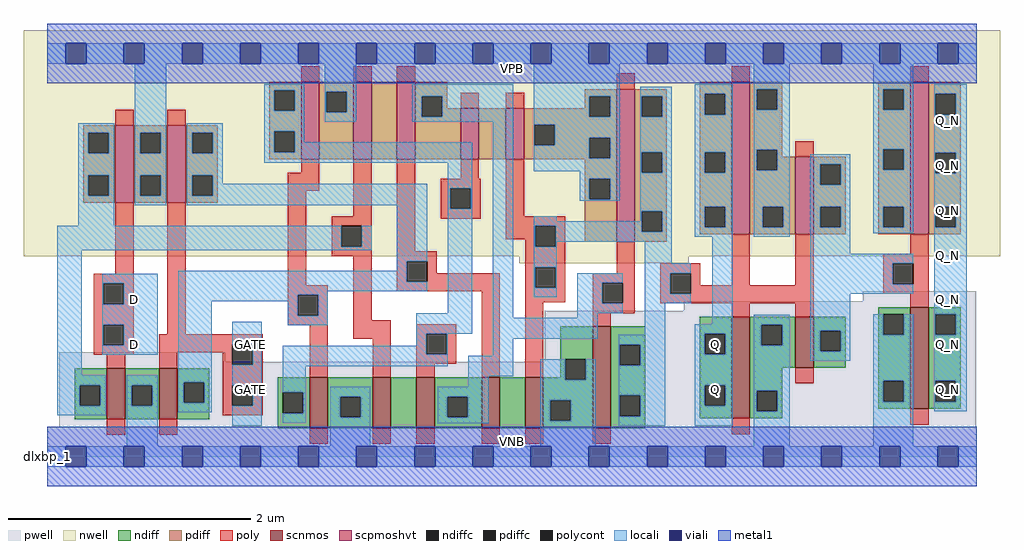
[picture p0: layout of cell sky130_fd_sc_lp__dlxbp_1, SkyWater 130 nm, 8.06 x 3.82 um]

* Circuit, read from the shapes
.subckt sky130_fd_sc_lp__dlxbp_1 D GATE VGND VNB VPB VPWR Q Q_N
XM1 VGND D n1 VNB sky130_fd_pr__nfet_01v8 w=0.42 l=0.15
XM2 n2 GATE VGND VNB sky130_fd_pr__nfet_01v8 w=0.42 l=0.15
XM3 VGND n2 n3 VNB sky130_fd_pr__nfet_01v8 w=0.42 l=0.15
XM4 n4 n1 VGND VNB sky130_fd_pr__nfet_01v8 w=0.42 l=0.15
XM5 n5 n3 n4 VNB sky130_fd_pr__nfet_01v8 w=0.42 l=0.15
XM6 n6 n2 n5 VNB sky130_fd_pr__nfet_01v8 w=0.42 l=0.15
XM7 VGND n7 n6 VNB sky130_fd_pr__nfet_01v8 w=0.42 l=0.15
XM8 n7 n5 VGND VNB sky130_fd_pr__nfet_01v8 w=0.84 l=0.15
XM9 VGND n7 Q VNB sky130_fd_pr__nfet_01v8 w=0.84 l=0.15
XM10 n8 n7 VGND VNB sky130_fd_pr__nfet_01v8 w=0.42 l=0.15
XM11 Q_N n8 VGND VNB sky130_fd_pr__nfet_01v8 w=0.84 l=0.15
XM12 VPWR D n1 VPB sky130_fd_pr__pfet_01v8_hvt w=0.64 l=0.15
XM13 n2 GATE VPWR VPB sky130_fd_pr__pfet_01v8_hvt w=0.64 l=0.15
XM14 VPWR n2 n3 VPB sky130_fd_pr__pfet_01v8_hvt w=0.64 l=0.15
XM15 n9 n1 VPWR VPB sky130_fd_pr__pfet_01v8_hvt w=0.64 l=0.15
XM16 n5 n2 n9 VPB sky130_fd_pr__pfet_01v8_hvt w=0.64 l=0.15
XM17 n10 n3 n5 VPB sky130_fd_pr__pfet_01v8_hvt w=0.42 l=0.15
XM18 VPWR n7 n10 VPB sky130_fd_pr__pfet_01v8_hvt w=0.42 l=0.15
XM19 n7 n5 VPWR VPB sky130_fd_pr__pfet_01v8_hvt w=1.26 l=0.15
XM20 VPWR n7 Q VPB sky130_fd_pr__pfet_01v8_hvt w=1.26 l=0.15
XM21 n8 n7 VPWR VPB sky130_fd_pr__pfet_01v8_hvt w=0.64 l=0.15
XM22 Q_N n8 VPWR VPB sky130_fd_pr__pfet_01v8_hvt w=1.26 l=0.15
.ends

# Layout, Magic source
magic
tech sky130A
magscale 1 2
<< nwell >>
rect -38 331 1574 704
rect 780 319 1060 331
<< pwell >>
rect 1347 257 1535 273
rect 1052 241 1535 257
rect 20 157 294 172
rect 822 157 1535 241
rect 20 49 1535 157
rect 0 0 1536 49
<< scnmos >>
rect 99 62 129 146
rect 185 62 215 146
rect 434 47 464 131
rect 538 47 568 131
rect 610 47 640 131
rect 718 47 748 131
rect 790 47 820 131
rect 901 47 931 215
rect 1131 63 1161 231
rect 1236 147 1266 231
rect 1426 79 1456 247
<< scpmoshvt >>
rect 113 419 143 547
rect 199 419 229 547
rect 420 491 450 619
rect 506 491 536 619
rect 578 491 608 619
rect 683 491 713 575
rect 758 491 788 575
rect 941 355 971 607
rect 1131 367 1161 619
rect 1236 367 1266 495
rect 1426 367 1456 619
<< ndiff >>
rect 46 118 99 146
rect 46 84 54 118
rect 88 84 99 118
rect 46 62 99 84
rect 129 118 185 146
rect 129 84 140 118
rect 174 84 185 118
rect 129 62 185 84
rect 215 123 268 146
rect 215 89 226 123
rect 260 89 268 123
rect 215 62 268 89
rect 1373 235 1426 247
rect 848 161 901 215
rect 848 131 856 161
rect 381 106 434 131
rect 381 72 389 106
rect 423 72 434 106
rect 381 47 434 72
rect 464 99 538 131
rect 464 65 484 99
rect 518 65 538 99
rect 464 47 538 65
rect 568 47 610 131
rect 640 99 718 131
rect 640 65 661 99
rect 695 65 718 99
rect 640 47 718 65
rect 748 47 790 131
rect 820 127 856 131
rect 890 127 901 161
rect 820 93 901 127
rect 820 59 831 93
rect 865 59 901 93
rect 820 47 901 59
rect 931 185 988 215
rect 931 151 946 185
rect 980 151 988 185
rect 931 101 988 151
rect 931 67 946 101
rect 980 67 988 101
rect 931 47 988 67
rect 1078 203 1131 231
rect 1078 169 1086 203
rect 1120 169 1131 203
rect 1078 118 1131 169
rect 1078 84 1086 118
rect 1120 84 1131 118
rect 1078 63 1131 84
rect 1161 218 1236 231
rect 1161 184 1180 218
rect 1214 184 1236 218
rect 1161 147 1236 184
rect 1266 208 1319 231
rect 1266 174 1277 208
rect 1311 174 1319 208
rect 1266 147 1319 174
rect 1373 201 1381 235
rect 1415 201 1426 235
rect 1161 109 1214 147
rect 1373 125 1426 201
rect 1161 75 1172 109
rect 1206 75 1214 109
rect 1373 91 1381 125
rect 1415 91 1426 125
rect 1373 79 1426 91
rect 1456 235 1509 247
rect 1456 201 1467 235
rect 1501 201 1509 235
rect 1456 125 1509 201
rect 1456 91 1467 125
rect 1501 91 1509 125
rect 1456 79 1509 91
rect 1161 63 1214 75
<< pdiff >>
rect 367 605 420 619
rect 367 571 375 605
rect 409 571 420 605
rect 60 535 113 547
rect 60 501 68 535
rect 102 501 113 535
rect 60 465 113 501
rect 60 431 68 465
rect 102 431 113 465
rect 60 419 113 431
rect 143 535 199 547
rect 143 501 154 535
rect 188 501 199 535
rect 143 465 199 501
rect 143 431 154 465
rect 188 431 199 465
rect 143 419 199 431
rect 229 535 282 547
rect 229 501 240 535
rect 274 501 282 535
rect 229 465 282 501
rect 367 537 420 571
rect 367 503 375 537
rect 409 503 420 537
rect 367 491 420 503
rect 450 603 506 619
rect 450 569 461 603
rect 495 569 506 603
rect 450 491 506 569
rect 536 491 578 619
rect 608 595 661 619
rect 608 561 619 595
rect 653 575 661 595
rect 888 595 941 607
rect 888 575 896 595
rect 653 561 683 575
rect 608 491 683 561
rect 713 491 758 575
rect 788 561 896 575
rect 930 561 941 595
rect 788 548 941 561
rect 788 514 805 548
rect 839 527 941 548
rect 839 514 896 527
rect 788 493 896 514
rect 930 493 941 527
rect 788 491 941 493
rect 229 431 240 465
rect 274 431 282 465
rect 229 419 282 431
rect 888 459 941 491
rect 888 425 896 459
rect 930 425 941 459
rect 888 355 941 425
rect 971 595 1024 607
rect 971 561 982 595
rect 1016 561 1024 595
rect 971 503 1024 561
rect 971 469 982 503
rect 1016 469 1024 503
rect 971 405 1024 469
rect 971 371 982 405
rect 1016 371 1024 405
rect 971 355 1024 371
rect 1078 599 1131 619
rect 1078 565 1086 599
rect 1120 565 1131 599
rect 1078 503 1131 565
rect 1078 469 1086 503
rect 1120 469 1131 503
rect 1078 413 1131 469
rect 1078 379 1086 413
rect 1120 379 1131 413
rect 1078 367 1131 379
rect 1161 607 1214 619
rect 1161 573 1172 607
rect 1206 573 1214 607
rect 1161 507 1214 573
rect 1373 607 1426 619
rect 1373 573 1381 607
rect 1415 573 1426 607
rect 1161 473 1172 507
rect 1206 495 1214 507
rect 1373 508 1426 573
rect 1206 473 1236 495
rect 1161 413 1236 473
rect 1161 379 1182 413
rect 1216 379 1236 413
rect 1161 367 1236 379
rect 1266 483 1319 495
rect 1266 449 1277 483
rect 1311 449 1319 483
rect 1266 413 1319 449
rect 1266 379 1277 413
rect 1311 379 1319 413
rect 1266 367 1319 379
rect 1373 474 1381 508
rect 1415 474 1426 508
rect 1373 413 1426 474
rect 1373 379 1381 413
rect 1415 379 1426 413
rect 1373 367 1426 379
rect 1456 599 1509 619
rect 1456 565 1467 599
rect 1501 565 1509 599
rect 1456 502 1509 565
rect 1456 468 1467 502
rect 1501 468 1509 502
rect 1456 413 1509 468
rect 1456 379 1467 413
rect 1501 379 1509 413
rect 1456 367 1509 379
<< ndiffc >>
rect 54 84 88 118
rect 140 84 174 118
rect 226 89 260 123
rect 389 72 423 106
rect 484 65 518 99
rect 661 65 695 99
rect 856 127 890 161
rect 831 59 865 93
rect 946 151 980 185
rect 946 67 980 101
rect 1086 169 1120 203
rect 1086 84 1120 118
rect 1180 184 1214 218
rect 1277 174 1311 208
rect 1381 201 1415 235
rect 1172 75 1206 109
rect 1381 91 1415 125
rect 1467 201 1501 235
rect 1467 91 1501 125
<< pdiffc >>
rect 375 571 409 605
rect 68 501 102 535
rect 68 431 102 465
rect 154 501 188 535
rect 154 431 188 465
rect 240 501 274 535
rect 375 503 409 537
rect 461 569 495 603
rect 619 561 653 595
rect 896 561 930 595
rect 805 514 839 548
rect 896 493 930 527
rect 240 431 274 465
rect 896 425 930 459
rect 982 561 1016 595
rect 982 469 1016 503
rect 982 371 1016 405
rect 1086 565 1120 599
rect 1086 469 1120 503
rect 1086 379 1120 413
rect 1172 573 1206 607
rect 1381 573 1415 607
rect 1172 473 1206 507
rect 1182 379 1216 413
rect 1277 449 1311 483
rect 1277 379 1311 413
rect 1381 474 1415 508
rect 1381 379 1415 413
rect 1467 565 1501 599
rect 1467 468 1501 502
rect 1467 379 1501 413
<< poly >>
rect 420 619 450 645
rect 506 619 536 645
rect 578 619 608 645
rect 113 547 143 573
rect 199 547 229 573
rect 941 607 971 633
rect 1131 619 1161 645
rect 1426 619 1456 645
rect 683 575 713 601
rect 758 575 788 601
rect 420 469 450 491
rect 398 439 450 469
rect 113 302 143 419
rect 77 286 143 302
rect 77 252 93 286
rect 127 252 143 286
rect 77 218 143 252
rect 77 184 93 218
rect 127 184 143 218
rect 199 202 229 419
rect 398 283 428 439
rect 506 397 536 491
rect 470 381 536 397
rect 470 347 486 381
rect 520 347 536 381
rect 470 331 536 347
rect 398 267 464 283
rect 398 233 414 267
rect 448 233 464 267
rect 398 217 464 233
rect 77 168 143 184
rect 185 186 356 202
rect 185 172 306 186
rect 99 146 129 168
rect 185 146 215 172
rect 290 152 306 172
rect 340 152 356 186
rect 290 118 356 152
rect 434 131 464 217
rect 506 225 536 331
rect 578 339 608 491
rect 683 459 713 491
rect 650 443 716 459
rect 650 409 666 443
rect 700 409 716 443
rect 650 393 716 409
rect 758 397 788 491
rect 758 381 856 397
rect 758 359 806 381
rect 790 347 806 359
rect 840 347 856 381
rect 1236 495 1266 521
rect 578 323 644 339
rect 578 289 594 323
rect 628 303 644 323
rect 790 313 856 347
rect 628 289 748 303
rect 578 273 748 289
rect 506 195 568 225
rect 538 131 568 195
rect 610 203 676 219
rect 610 169 626 203
rect 660 169 676 203
rect 610 153 676 169
rect 610 131 640 153
rect 718 131 748 273
rect 790 279 806 313
rect 840 279 856 313
rect 941 303 971 355
rect 790 255 856 279
rect 901 287 971 303
rect 790 131 820 255
rect 901 253 917 287
rect 951 253 971 287
rect 1013 303 1079 319
rect 1013 269 1029 303
rect 1063 283 1079 303
rect 1131 283 1161 367
rect 1236 283 1266 367
rect 1426 335 1456 367
rect 1063 269 1266 283
rect 1381 319 1456 335
rect 1381 285 1397 319
rect 1431 285 1456 319
rect 1381 269 1456 285
rect 1013 253 1266 269
rect 901 237 971 253
rect 901 215 931 237
rect 1131 231 1161 253
rect 1236 231 1266 253
rect 1426 247 1456 269
rect 290 84 306 118
rect 340 84 356 118
rect 290 68 356 84
rect 99 36 129 62
rect 185 36 215 62
rect 1236 121 1266 147
rect 434 21 464 47
rect 538 21 568 47
rect 610 21 640 47
rect 718 21 748 47
rect 790 21 820 47
rect 901 21 931 47
rect 1131 37 1161 63
rect 1426 53 1456 79
<< polycont >>
rect 93 252 127 286
rect 93 184 127 218
rect 486 347 520 381
rect 414 233 448 267
rect 306 152 340 186
rect 666 409 700 443
rect 806 347 840 381
rect 594 289 628 323
rect 626 169 660 203
rect 806 279 840 313
rect 917 253 951 287
rect 1029 269 1063 303
rect 1397 285 1431 319
rect 306 84 340 118
<< locali >>
rect 0 649 31 683
rect 65 649 127 683
rect 161 649 223 683
rect 257 649 319 683
rect 353 649 415 683
rect 449 649 511 683
rect 545 649 607 683
rect 641 649 703 683
rect 737 649 799 683
rect 833 649 895 683
rect 929 649 991 683
rect 1025 649 1087 683
rect 1121 649 1183 683
rect 1217 649 1279 683
rect 1313 649 1375 683
rect 1409 649 1471 683
rect 1505 649 1536 683
rect 52 535 111 551
rect 52 501 68 535
rect 102 501 111 535
rect 52 465 111 501
rect 52 431 68 465
rect 102 431 111 465
rect 52 381 111 431
rect 145 535 197 649
rect 359 605 425 615
rect 359 571 375 605
rect 409 571 425 605
rect 145 501 154 535
rect 188 501 197 535
rect 145 465 197 501
rect 145 431 154 465
rect 188 431 197 465
rect 145 415 197 431
rect 231 535 290 551
rect 231 501 240 535
rect 274 501 290 535
rect 231 465 290 501
rect 359 537 425 571
rect 459 603 511 649
rect 459 569 461 603
rect 495 569 511 603
rect 459 553 511 569
rect 603 595 770 615
rect 603 561 619 595
rect 653 561 770 595
rect 603 553 770 561
rect 359 503 375 537
rect 409 519 425 537
rect 409 503 702 519
rect 359 485 702 503
rect 231 431 240 465
rect 274 451 290 465
rect 274 431 628 451
rect 231 415 628 431
rect 17 347 486 381
rect 520 347 536 381
rect 17 341 536 347
rect 17 134 57 341
rect 578 323 628 415
rect 578 307 594 323
rect 91 286 183 302
rect 91 252 93 286
rect 127 252 183 286
rect 91 218 183 252
rect 91 184 93 218
rect 127 184 183 218
rect 91 168 183 184
rect 217 289 594 307
rect 217 273 628 289
rect 662 443 702 485
rect 662 409 666 443
rect 700 409 702 443
rect 217 267 464 273
rect 217 257 414 267
rect 17 118 98 134
rect 17 84 54 118
rect 88 84 98 118
rect 17 68 98 84
rect 132 118 183 134
rect 132 84 140 118
rect 174 84 183 118
rect 132 17 183 84
rect 217 123 272 257
rect 398 233 414 257
rect 448 233 464 267
rect 662 237 702 409
rect 217 89 226 123
rect 260 89 272 123
rect 217 73 272 89
rect 306 186 355 223
rect 398 217 464 233
rect 340 152 355 186
rect 610 203 702 237
rect 736 229 770 553
rect 804 595 946 649
rect 804 561 896 595
rect 930 561 946 595
rect 804 548 946 561
rect 804 514 805 548
rect 839 527 946 548
rect 839 514 896 527
rect 804 493 896 514
rect 930 493 946 527
rect 804 471 946 493
rect 880 459 946 471
rect 880 425 896 459
rect 930 425 946 459
rect 880 423 946 425
rect 980 595 1032 611
rect 980 561 982 595
rect 1016 561 1032 595
rect 980 503 1032 561
rect 980 469 982 503
rect 1016 469 1032 503
rect 980 405 1032 469
rect 804 389 842 397
rect 980 389 982 405
rect 804 381 982 389
rect 804 347 806 381
rect 840 371 982 381
rect 1016 371 1032 405
rect 840 355 1032 371
rect 1070 599 1133 615
rect 1070 565 1086 599
rect 1120 565 1133 599
rect 1070 503 1133 565
rect 1070 469 1086 503
rect 1120 469 1133 503
rect 1070 413 1133 469
rect 1070 379 1086 413
rect 1120 379 1133 413
rect 1070 363 1133 379
rect 1167 607 1227 649
rect 1167 573 1172 607
rect 1206 573 1227 607
rect 1167 507 1227 573
rect 1167 473 1172 507
rect 1206 473 1227 507
rect 1365 607 1431 649
rect 1365 573 1381 607
rect 1415 573 1431 607
rect 1365 508 1431 573
rect 1167 413 1227 473
rect 1167 379 1182 413
rect 1216 379 1227 413
rect 1167 363 1227 379
rect 1261 483 1327 499
rect 1261 449 1277 483
rect 1311 449 1327 483
rect 1261 413 1327 449
rect 1261 379 1277 413
rect 1311 379 1327 413
rect 840 347 842 355
rect 804 313 842 347
rect 804 279 806 313
rect 840 279 842 313
rect 987 319 1032 355
rect 987 303 1063 319
rect 804 263 842 279
rect 876 287 951 303
rect 876 253 917 287
rect 876 237 951 253
rect 987 269 1029 303
rect 987 253 1063 269
rect 876 229 910 237
rect 610 183 626 203
rect 306 118 355 152
rect 340 84 355 118
rect 306 51 355 84
rect 389 169 626 183
rect 660 169 662 203
rect 389 149 662 169
rect 736 195 910 229
rect 987 201 1021 253
rect 1099 219 1133 363
rect 1261 335 1327 379
rect 1365 474 1381 508
rect 1415 474 1431 508
rect 1365 413 1431 474
rect 1365 379 1381 413
rect 1415 379 1431 413
rect 1365 369 1431 379
rect 1465 599 1519 615
rect 1465 565 1467 599
rect 1501 565 1519 599
rect 1465 502 1519 565
rect 1465 468 1467 502
rect 1501 468 1519 502
rect 1465 413 1519 468
rect 1465 379 1467 413
rect 1501 379 1519 413
rect 1261 319 1431 335
rect 1261 285 1397 319
rect 1261 269 1431 285
rect 736 167 770 195
rect 389 106 427 149
rect 696 133 770 167
rect 944 185 1021 201
rect 696 115 730 133
rect 423 72 427 106
rect 389 56 427 72
rect 468 99 534 115
rect 468 65 484 99
rect 518 65 534 99
rect 468 17 534 65
rect 645 99 730 115
rect 645 65 661 99
rect 695 65 730 99
rect 645 55 730 65
rect 815 127 856 161
rect 890 127 906 161
rect 815 93 906 127
rect 815 59 831 93
rect 865 59 906 93
rect 815 17 906 59
rect 944 151 946 185
rect 980 151 1021 185
rect 944 101 1021 151
rect 944 67 946 101
rect 980 67 1021 101
rect 944 51 1021 67
rect 1070 203 1133 219
rect 1070 169 1086 203
rect 1120 169 1133 203
rect 1070 118 1133 169
rect 1070 84 1086 118
rect 1120 84 1133 118
rect 1070 51 1133 84
rect 1167 218 1227 234
rect 1167 184 1180 218
rect 1214 184 1227 218
rect 1167 109 1227 184
rect 1261 208 1327 269
rect 1465 235 1519 379
rect 1261 174 1277 208
rect 1311 174 1327 208
rect 1261 158 1327 174
rect 1365 201 1381 235
rect 1415 201 1431 235
rect 1167 75 1172 109
rect 1206 75 1227 109
rect 1167 17 1227 75
rect 1365 125 1431 201
rect 1365 91 1381 125
rect 1415 91 1431 125
rect 1365 17 1431 91
rect 1465 201 1467 235
rect 1501 201 1519 235
rect 1465 125 1519 201
rect 1465 91 1467 125
rect 1501 91 1519 125
rect 1465 75 1519 91
rect 0 -17 31 17
rect 65 -17 127 17
rect 161 -17 223 17
rect 257 -17 319 17
rect 353 -17 415 17
rect 449 -17 511 17
rect 545 -17 607 17
rect 641 -17 703 17
rect 737 -17 799 17
rect 833 -17 895 17
rect 929 -17 991 17
rect 1025 -17 1087 17
rect 1121 -17 1183 17
rect 1217 -17 1279 17
rect 1313 -17 1375 17
rect 1409 -17 1471 17
rect 1505 -17 1536 17
<< viali >>
rect 31 649 65 683
rect 127 649 161 683
rect 223 649 257 683
rect 319 649 353 683
rect 415 649 449 683
rect 511 649 545 683
rect 607 649 641 683
rect 703 649 737 683
rect 799 649 833 683
rect 895 649 929 683
rect 991 649 1025 683
rect 1087 649 1121 683
rect 1183 649 1217 683
rect 1279 649 1313 683
rect 1375 649 1409 683
rect 1471 649 1505 683
rect 31 -17 65 17
rect 127 -17 161 17
rect 223 -17 257 17
rect 319 -17 353 17
rect 415 -17 449 17
rect 511 -17 545 17
rect 607 -17 641 17
rect 703 -17 737 17
rect 799 -17 833 17
rect 895 -17 929 17
rect 991 -17 1025 17
rect 1087 -17 1121 17
rect 1183 -17 1217 17
rect 1279 -17 1313 17
rect 1375 -17 1409 17
rect 1471 -17 1505 17
<< metal1 >>
rect 0 683 1536 715
rect 0 649 31 683
rect 65 649 127 683
rect 161 649 223 683
rect 257 649 319 683
rect 353 649 415 683
rect 449 649 511 683
rect 545 649 607 683
rect 641 649 703 683
rect 737 649 799 683
rect 833 649 895 683
rect 929 649 991 683
rect 1025 649 1087 683
rect 1121 649 1183 683
rect 1217 649 1279 683
rect 1313 649 1375 683
rect 1409 649 1471 683
rect 1505 649 1536 683
rect 0 617 1536 649
rect 0 17 1536 49
rect 0 -17 31 17
rect 65 -17 127 17
rect 161 -17 223 17
rect 257 -17 319 17
rect 353 -17 415 17
rect 449 -17 511 17
rect 545 -17 607 17
rect 641 -17 703 17
rect 737 -17 799 17
rect 833 -17 895 17
rect 929 -17 991 17
rect 1025 -17 1087 17
rect 1121 -17 1183 17
rect 1217 -17 1279 17
rect 1313 -17 1375 17
rect 1409 -17 1471 17
rect 1505 -17 1536 17
rect 0 -49 1536 -17
<< labels >>
flabel pwell s 0 0 1536 49 0 FreeSans 200 0 0 0 VNB
port 4 nsew ground bidirectional
flabel nwell s 0 617 1536 666 0 FreeSans 200 0 0 0 VPB
port 5 nsew power bidirectional
rlabel comment s 0 0 0 0 4 dlxbp_1
flabel metal1 s 0 617 1536 666 0 FreeSans 340 0 0 0 VPWR
port 6 nsew power bidirectional
flabel metal1 s 0 0 1536 49 0 FreeSans 340 0 0 0 VGND
port 3 nsew ground bidirectional
flabel locali s 1471 94 1505 128 0 FreeSans 340 0 0 0 Q_N
port 8 nsew signal output
flabel locali s 1471 168 1505 202 0 FreeSans 340 0 0 0 Q_N
port 8 nsew signal output
flabel locali s 1471 242 1505 276 0 FreeSans 340 0 0 0 Q_N
port 8 nsew signal output
flabel locali s 1471 316 1505 350 0 FreeSans 340 0 0 0 Q_N
port 8 nsew signal output
flabel locali s 1471 390 1505 424 0 FreeSans 340 0 0 0 Q_N
port 8 nsew signal output
flabel locali s 1471 464 1505 498 0 FreeSans 340 0 0 0 Q_N
port 8 nsew signal output
flabel locali s 1471 538 1505 572 0 FreeSans 340 0 0 0 Q_N
port 8 nsew signal output
flabel locali s 127 168 161 202 0 FreeSans 340 0 0 0 D
port 1 nsew signal input
flabel locali s 127 242 161 276 0 FreeSans 340 0 0 0 D
port 1 nsew signal input
flabel locali s 1087 94 1121 128 0 FreeSans 340 0 0 0 Q
port 7 nsew signal output
flabel locali s 1087 168 1121 202 0 FreeSans 340 0 0 0 Q
port 7 nsew signal output
flabel locali s 319 94 353 128 0 FreeSans 340 0 0 0 GATE
port 2 nsew clock input
flabel locali s 319 168 353 202 0 FreeSans 340 0 0 0 GATE
port 2 nsew clock input
<< properties >>
string LEFsite unit
string LEFclass CORE
string FIXED_BBOX 0 0 1536 666
string GDS_FILE $PDKPATH/libs.ref/sky130_fd_sc_lp/gds/sky130_fd_sc_lp.gds
string LEFsymmetry X Y R90
string GDS_END 2293442
string GDS_START 2280380
<< end >>
